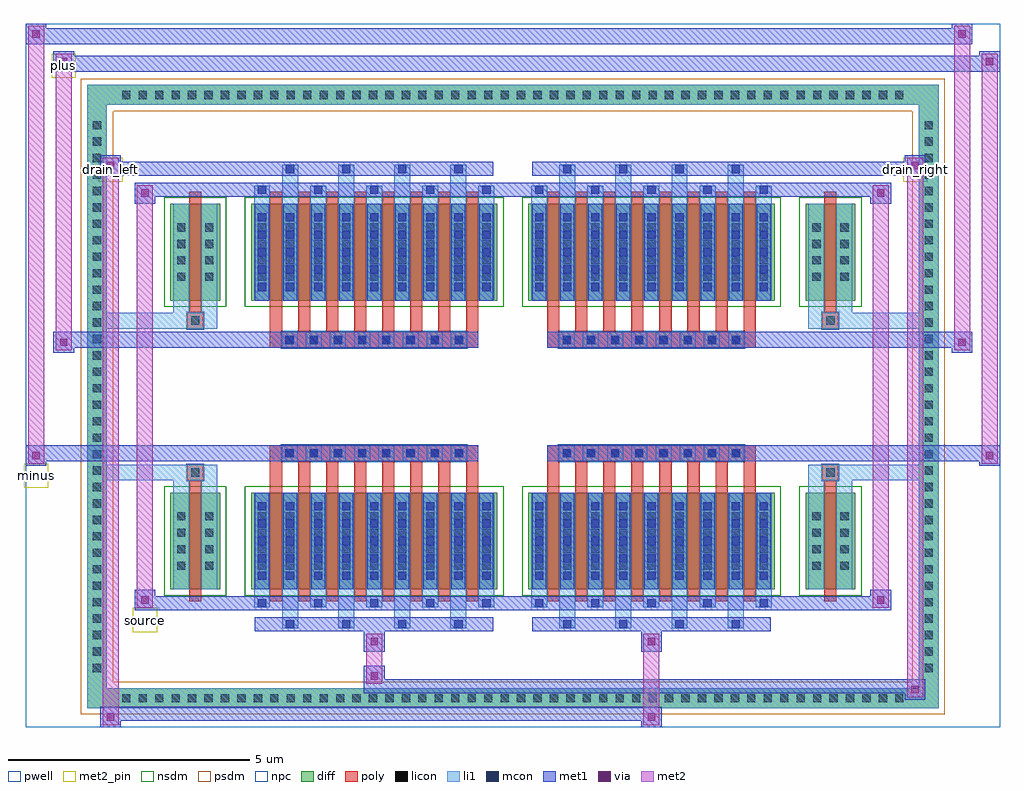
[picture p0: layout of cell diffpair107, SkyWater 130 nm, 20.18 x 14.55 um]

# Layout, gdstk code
import gdstk
lib = gdstk.Library(unit=1e-6, precision=5e-09)
def R(c, l, rs):  # rectangles x0, y0, x1, y1
    for r in rs: c.add(gdstk.rectangle(r[:2], r[2:], *l))
def A(c, l, x, y, w, h, nx, ny, dx, dy):  # array of equal rectangles
    R(c, l, [(x+i*dx, y+j*dy, x+i*dx+w, y+j*dy+h) for i in range(nx) for j in range(ny)])
def P(c, l, *ps):  # polygons
    for p in ps: c.add(gdstk.Polygon(p, *l))
pwell = (64, 44)
diff = (65, 20)
poly = (66, 20)
licon = (66, 44)
li1 = (67, 20)
mcon = (67, 44)
met1 = (68, 20)
via = (68, 44)
met2_pin = (69, 16)
met2 = (69, 20)
nsdm = (93, 44)
psdm = (94, 20)
npc = (95, 20)

diffpair107 = lib.new_cell('diffpair107')
R(diffpair107, pwell, [(-10.07,-6.84,10.07,7.71), (-7.39,-5.03,-0.01,-0.805), (0.01,-5.03,7.39,-0.805), (-7.39,0.805,-0.01,5.03), (0.01,0.805,7.39,5.03)])
A(diffpair107, diff, -8.195, -6.44, 0.41, 0.41, 48, 2, 0.34, 12.47)
A(diffpair107, diff, -8.8, -5.815, 0.41, 0.41, 1, 34, 0, 0.34)
A(diffpair107, diff, 8.39, -5.815, 0.41, 0.41, 1, 34, 0, 0.34)
R(diffpair107, diff, [(-8.195,-6.44,8.195,-6.03), (-8.8,-5.815,-8.39,5.815), (8.39,-5.815,8.8,5.815), (-7.08,-3.985,-6.05,-1.985), (-5.41,-3.985,-0.32,-1.985), (0.32,-3.985,5.41,-1.985), (6.05,-3.985,7.08,-1.985), (-7.08,1.985,-6.05,3.985), (-5.41,1.985,-0.32,3.985), (0.32,1.985,5.41,3.985), (6.05,1.985,7.08,3.985), (-8.195,6.03,8.195,6.44)])
P(diffpair107, diff, [(8.8,6.44),(-8.8,6.44),(-8.8,-6.03),(-8.39,-6.03),(-8.39,6.03),(8.39,6.03),(8.39,-6.03),(-8.39,-6.03),(-8.8,-6.03),(-8.8,-6.44),(8.8,-6.44)])
A(diffpair107, poly, -5.02, -4.235, 0.25, 2.5, 8, 2, 0.58, 5.97)
A(diffpair107, poly, 0.71, -4.235, 0.25, 2.5, 8, 2, 0.58, 5.97)
A(diffpair107, poly, -5.02, -1.735, 0.25, 0.4, 8, 2, 0.58, 3.07)
A(diffpair107, poly, 0.71, -1.735, 0.25, 0.4, 8, 2, 0.58, 3.07)
A(diffpair107, poly, -4.78, -1.335, 0.33, 0.33, 8, 2, 0.5, 2.34)
A(diffpair107, poly, 0.95, -1.335, 0.33, 0.33, 8, 2, 0.5, 2.34)
R(diffpair107, poly, [(-6.69,-4.235,-6.44,-1.735), (6.44,-4.235,6.69,-1.735), (-6.73,-1.735,-6.4,-1.405), (-6.73,-1.735,-6.4,-1.405), (6.4,-1.735,6.73,-1.405), (6.4,-1.735,6.73,-1.405), (-5.02,-1.335,-0.71,-1.005), (0.71,-1.335,5.02,-1.005), (-5.02,1.005,-0.71,1.335), (0.71,1.005,5.02,1.335), (-6.73,1.405,-6.4,1.735), (-6.73,1.405,-6.4,1.735), (6.4,1.405,6.73,1.735), (6.4,1.405,6.73,1.735), (-6.69,1.735,-6.44,4.235), (6.44,1.735,6.69,4.235)])
A(diffpair107, licon, -8.075, -6.32, 0.17, 0.17, 48, 2, 0.34, 12.47)
A(diffpair107, licon, -8.68, -5.695, 0.17, 0.17, 1, 34, 0, 0.34)
A(diffpair107, licon, 8.51, -5.695, 0.17, 0.17, 1, 34, 0, 0.34)
A(diffpair107, licon, -6.94, -3.58, 0.17, 0.17, 1, 4, 0, 0.34)
A(diffpair107, licon, -6.36, -3.58, 0.17, 0.17, 1, 4, 0, 0.34)
A(diffpair107, licon, -5.27, -3.58, 0.17, 0.17, 9, 4, 0.58, 0.34)
A(diffpair107, licon, 0.46, -3.58, 0.17, 0.17, 9, 4, 0.58, 0.34)
A(diffpair107, licon, 6.19, -3.58, 0.17, 0.17, 1, 4, 0, 0.34)
A(diffpair107, licon, 6.77, -3.58, 0.17, 0.17, 1, 4, 0, 0.34)
A(diffpair107, licon, -4.7, -1.255, 0.17, 0.17, 8, 2, 0.5, 2.34)
A(diffpair107, licon, 1.03, -1.255, 0.17, 0.17, 8, 2, 0.5, 2.34)
A(diffpair107, licon, -6.94, 2.39, 0.17, 0.17, 1, 4, 0, 0.34)
A(diffpair107, licon, -6.36, 2.39, 0.17, 0.17, 1, 4, 0, 0.34)
A(diffpair107, licon, -5.27, 2.39, 0.17, 0.17, 9, 4, 0.58, 0.34)
A(diffpair107, licon, 0.46, 2.39, 0.17, 0.17, 9, 4, 0.58, 0.34)
A(diffpair107, licon, 6.19, 2.39, 0.17, 0.17, 1, 4, 0, 0.34)
A(diffpair107, licon, 6.77, 2.39, 0.17, 0.17, 1, 4, 0, 0.34)
R(diffpair107, licon, [(-6.65,-1.655,-6.48,-1.485), (6.48,-1.655,6.65,-1.485), (-6.65,1.485,-6.48,1.655), (6.48,1.485,6.65,1.655)])
A(diffpair107, li1, -8.155, -6.4, 0.33, 0.33, 48, 2, 0.34, 12.47)
A(diffpair107, li1, -8.76, -5.775, 0.33, 0.33, 1, 34, 0, 0.34)
A(diffpair107, li1, 8.43, -5.775, 0.33, 0.33, 1, 34, 0, 0.34)
A(diffpair107, li1, -4.77, -4.79, 0.33, 0.805, 4, 2, 1.16, 8.775)
A(diffpair107, li1, -4.69, -4.79, 0.17, 0.17, 4, 2, 1.16, 9.41)
A(diffpair107, li1, 0.96, -4.79, 0.33, 0.805, 4, 2, 1.16, 8.775)
A(diffpair107, li1, 1.04, -4.79, 0.17, 0.17, 4, 2, 1.16, 9.41)
A(diffpair107, li1, -5.35, -4.36, 0.33, 0.375, 5, 2, 1.16, 8.345)
A(diffpair107, li1, -5.27, -4.36, 0.17, 0.17, 5, 2, 1.16, 8.55)
A(diffpair107, li1, 0.38, -4.36, 0.33, 0.375, 5, 2, 1.16, 8.345)
A(diffpair107, li1, 0.46, -4.36, 0.17, 0.17, 5, 2, 1.16, 8.55)
A(diffpair107, li1, -5.35, -3.985, 0.33, 2, 9, 2, 0.58, 5.97)
A(diffpair107, li1, 0.38, -3.985, 0.33, 2, 9, 2, 0.58, 5.97)
A(diffpair107, li1, -5.27, -3.79, 0.17, 0.17, 9, 5, 0.58, 0.36)
A(diffpair107, li1, -5.27, -3.79, 0.17, 1.61, 9, 2, 0.58, 5.97)
A(diffpair107, li1, 0.46, -3.79, 0.17, 0.17, 9, 5, 0.58, 0.36)
A(diffpair107, li1, 0.46, -3.79, 0.17, 1.61, 9, 2, 0.58, 5.97)
A(diffpair107, li1, -7.02, -3.66, 0.33, 0.33, 1, 4, 0, 0.34)
A(diffpair107, li1, -6.44, -3.66, 0.33, 0.33, 1, 4, 0, 0.34)
A(diffpair107, li1, -5.35, -3.66, 0.33, 0.33, 9, 4, 0.58, 0.34)
A(diffpair107, li1, 0.38, -3.66, 0.33, 0.33, 9, 4, 0.58, 0.34)
A(diffpair107, li1, 6.11, -3.66, 0.33, 0.33, 1, 4, 0, 0.34)
A(diffpair107, li1, 6.69, -3.66, 0.33, 0.33, 1, 4, 0, 0.34)
A(diffpair107, li1, -4.78, -1.335, 0.33, 0.33, 8, 2, 0.5, 2.34)
A(diffpair107, li1, 0.95, -1.335, 0.33, 0.33, 8, 2, 0.5, 2.34)
A(diffpair107, li1, -5.27, 2.18, 0.17, 0.17, 9, 5, 0.58, 0.36)
A(diffpair107, li1, 0.46, 2.18, 0.17, 0.17, 9, 5, 0.58, 0.36)
A(diffpair107, li1, -7.02, 2.31, 0.33, 0.33, 1, 4, 0, 0.34)
A(diffpair107, li1, -6.44, 2.31, 0.33, 0.33, 1, 4, 0, 0.34)
A(diffpair107, li1, -5.35, 2.31, 0.33, 0.33, 9, 4, 0.58, 0.34)
A(diffpair107, li1, 0.38, 2.31, 0.33, 0.33, 9, 4, 0.58, 0.34)
A(diffpair107, li1, 6.11, 2.31, 0.33, 0.33, 1, 4, 0, 0.34)
A(diffpair107, li1, 6.69, 2.31, 0.33, 0.33, 1, 4, 0, 0.34)
R(diffpair107, li1, [(-8.8,-6.44,-8.39,-6.03), (-8.8,-6.44,-8.39,-6.03), (-8.39,-6.44,8.39,-6.03), (8.39,-6.44,8.8,-6.03), (8.39,-6.44,8.8,-6.03), (-8.8,-6.03,-8.39,6.03), (8.39,-6.03,8.8,6.03), (-7.02,-3.985,-6.69,-1.985), (-6.44,-3.985,-6.11,-1.985), (6.11,-3.985,6.44,-1.985), (6.69,-3.985,7.02,-1.985), (-7.02,-1.985,-6.69,-1.405), (-6.44,-1.985,-6.11,-1.405), (6.11,-1.985,6.44,-1.405), (6.69,-1.985,7.02,-1.405), (-8.8,-1.735,-6.73,-1.405), (-7.02,-1.735,-6.73,-1.405), (-6.73,-1.735,-6.4,-1.405), (-6.4,-1.735,-6.11,-1.405), (6.11,-1.735,6.4,-1.405), (6.4,-1.735,6.73,-1.405), (6.4,-1.735,8.8,-1.405), (6.73,-1.735,7.02,-1.405), (-8.8,1.405,-6.73,1.735), (-7.02,1.405,-6.73,1.735), (-7.02,1.405,-6.69,1.985), (-6.73,1.405,-6.4,1.735), (-6.44,1.405,-6.11,1.985), (-6.4,1.405,-6.11,1.735), (6.11,1.405,6.4,1.735), (6.11,1.405,6.44,1.985), (6.4,1.405,6.73,1.735), (6.4,1.405,8.8,1.735), (6.69,1.405,7.02,1.985), (6.73,1.405,7.02,1.735), (-7.02,1.985,-6.69,3.985), (-6.44,1.985,-6.11,3.985), (6.11,1.985,6.44,3.985), (6.69,1.985,7.02,3.985), (-8.8,6.03,-8.39,6.44), (-8.8,6.03,-8.39,6.44), (-8.39,6.03,8.39,6.44), (8.39,6.03,8.8,6.44), (8.39,6.03,8.8,6.44)])
A(diffpair107, mcon, -4.69, -4.79, 0.17, 0.17, 4, 2, 1.16, 9.41)
A(diffpair107, mcon, 1.04, -4.79, 0.17, 0.17, 4, 2, 1.16, 9.41)
A(diffpair107, mcon, -5.27, -4.36, 0.17, 0.17, 5, 2, 1.16, 8.55)
A(diffpair107, mcon, 0.46, -4.36, 0.17, 0.17, 5, 2, 1.16, 8.55)
A(diffpair107, mcon, -5.27, -3.79, 0.17, 0.17, 9, 5, 0.58, 0.36)
A(diffpair107, mcon, 0.46, -3.79, 0.17, 0.17, 9, 5, 0.58, 0.36)
A(diffpair107, mcon, -4.7, -1.255, 0.17, 0.17, 8, 2, 0.5, 2.34)
A(diffpair107, mcon, 1.03, -1.255, 0.17, 0.17, 8, 2, 0.5, 2.34)
A(diffpair107, mcon, -5.27, 2.18, 0.17, 0.17, 9, 5, 0.58, 0.36)
A(diffpair107, mcon, 0.46, 2.18, 0.17, 0.17, 9, 5, 0.58, 0.36)
A(diffpair107, met1, -4.75, -4.85, 0.29, 0.29, 4, 2, 1.16, 9.41)
A(diffpair107, met1, 0.98, -4.85, 0.29, 0.29, 4, 2, 1.16, 9.41)
A(diffpair107, met1, -5.33, -4.42, 0.29, 0.29, 5, 2, 1.16, 8.55)
A(diffpair107, met1, 0.4, -4.42, 0.29, 0.29, 5, 2, 1.16, 8.55)
A(diffpair107, met1, -5.33, -3.985, 0.29, 2, 9, 2, 0.58, 5.97)
A(diffpair107, met1, 0.4, -3.985, 0.29, 2, 9, 2, 0.58, 5.97)
A(diffpair107, met1, -5.33, -3.85, 0.29, 0.29, 9, 5, 0.58, 0.36)
A(diffpair107, met1, 0.4, -3.85, 0.29, 0.29, 9, 5, 0.58, 0.36)
A(diffpair107, met1, -4.76, -1.315, 0.29, 0.29, 8, 2, 0.5, 2.34)
A(diffpair107, met1, 0.97, -1.315, 0.29, 0.29, 8, 2, 0.5, 2.34)
A(diffpair107, met1, -5.33, 2.12, 0.29, 0.29, 9, 5, 0.58, 0.36)
A(diffpair107, met1, 0.4, 2.12, 0.29, 0.29, 9, 5, 0.58, 0.36)
R(diffpair107, met1, [(-8.53,-6.84,-8.1,-6.41), (2.65,-6.84,3.08,-6.41), (-8.53,-6.7,3.08,-6.41), (8.1,-6.27,8.53,-5.84), (-3.08,-6.13,8.53,-5.84), (-3.08,-5.99,-2.65,-5.56), (-3.08,-5.28,-2.65,-4.85), (2.65,-5.28,3.08,-4.85), (-5.33,-4.85,-0.4,-4.56), (0.4,-4.85,5.33,-4.56), (-7.82,-4.42,-7.39,-3.99), (-7.82,-4.42,-5.33,-4.13), (-5.33,-4.42,-0.4,-4.13), (-0.4,-4.42,0.4,-4.13), (0.4,-4.42,5.33,-4.13), (5.33,-4.42,7.82,-4.13), (7.39,-4.42,7.82,-3.99), (-10.07,-1.435,-9.64,-1.005), (9.64,-1.435,10.07,-1.005), (-10.07,-1.335,-0.71,-1.005), (-5.02,-1.335,-0.71,-1.005), (0.71,-1.335,5.02,-1.005), (0.71,-1.335,10.07,-1.005), (-9.5,0.905,-9.07,1.335), (9.07,0.905,9.5,1.335), (-9.5,1.005,-5.02,1.335), (-5.02,1.005,-0.71,1.335), (0.71,1.005,5.02,1.335), (5.02,1.005,9.5,1.335), (-7.82,3.99,-7.39,4.42), (7.39,3.99,7.82,4.42), (-7.82,4.13,-5.33,4.42), (-5.33,4.13,-0.4,4.42), (-0.4,4.13,0.4,4.42), (0.4,4.13,5.33,4.42), (5.33,4.13,7.82,4.42), (-8.53,4.56,-8.1,4.99), (-8.53,4.56,-5.33,4.85), (-5.33,4.56,-0.4,4.85), (0.4,4.56,5.33,4.85), (5.33,4.56,8.53,4.85), (8.1,4.56,8.53,4.99), (-9.5,6.71,-9.07,7.14), (-9.5,6.71,-7.39,7.04), (-7.39,6.71,7.39,7.04), (7.39,6.71,10.07,7.04), (9.64,6.71,10.07,7.14), (-10.07,7.28,-9.64,7.71), (-10.07,7.28,-7.39,7.61), (-7.39,7.28,7.39,7.61), (7.39,7.28,9.5,7.61), (9.07,7.28,9.5,7.71)])
R(diffpair107, via, [(-8.39,-6.7,-8.24,-6.55), (2.79,-6.7,2.94,-6.55), (8.24,-6.13,8.39,-5.98), (-2.94,-5.85,-2.79,-5.7), (-2.94,-5.14,-2.79,-4.99), (2.79,-5.14,2.94,-4.99), (-7.68,-4.28,-7.53,-4.13), (7.53,-4.28,7.68,-4.13), (-9.93,-1.295,-9.78,-1.145), (9.78,-1.295,9.93,-1.145), (-9.36,1.045,-9.21,1.195), (9.21,1.045,9.36,1.195), (-7.68,4.13,-7.53,4.28), (7.53,4.13,7.68,4.28), (-8.39,4.7,-8.24,4.85), (8.24,4.7,8.39,4.85), (-9.36,6.85,-9.21,7), (9.78,6.85,9.93,7), (-9.93,7.42,-9.78,7.57), (9.21,7.42,9.36,7.57)])
R(diffpair107, met2_pin, [(-7.855,-4.87,-7.355,-4.37), (-10.105,-1.885,-9.605,-1.385), (-8.565,4.44,-8.065,4.94), (8.065,4.44,8.565,4.94), (-9.535,6.59,-9.035,7.09)])
R(diffpair107, met2, [(-8.48,-6.79,-8.15,-6.46), (-8.48,-6.79,-8.15,4.94), (2.7,-6.79,3.03,-6.46), (2.7,-6.46,3.03,-5.23), (8.15,-6.22,8.48,-5.89), (8.15,-6.22,8.48,4.94), (-3.03,-5.94,-2.7,-5.61), (-3.03,-5.61,-2.7,-5.23), (-3.03,-5.23,-2.7,-4.9), (2.7,-5.23,3.03,-4.9), (-7.77,-4.37,-7.44,-4.04), (-7.77,-4.37,-7.44,4.37), (7.44,-4.37,7.77,-4.04), (7.44,-4.37,7.77,4.37), (-10.02,-1.385,-9.69,-1.055), (-10.02,-1.385,-9.69,7.66), (9.69,-1.385,10.02,-1.055), (9.69,-1.385,10.02,7.09), (-9.45,0.955,-9.12,1.285), (-9.45,0.955,-9.12,7.09), (9.12,0.955,9.45,1.285), (9.12,0.955,9.45,7.66), (-7.77,4.04,-7.44,4.37), (7.44,4.04,7.77,4.37), (-8.48,4.61,-8.15,4.94), (8.15,4.61,8.48,4.94), (-9.45,6.76,-9.12,7.09), (9.69,6.76,10.02,7.09), (-10.02,7.33,-9.69,7.66), (9.12,7.33,9.45,7.66)])
P(diffpair107, met2, [(10.02,-1.385),(10.02,-1.385),(10.02,-1.055),(10.02,-1.055)],
  [(10.02,6.76),(10.02,6.76),(10.02,7.09),(10.02,7.09)],
  [(-9.69,-1.385),(-9.69,-1.385),(-9.69,-1.055),(-9.69,-1.055)],
  [(-9.69,7.33),(-9.69,7.33),(-9.69,7.66),(-9.69,7.66)],
  [(9.45,0.955),(9.45,0.955),(9.45,1.285),(9.45,1.285)],
  [(9.45,7.33),(9.45,7.33),(9.45,7.66),(9.45,7.66)],
  [(-9.12,0.955),(-9.12,0.955),(-9.12,1.285),(-9.12,1.285)],
  [(-9.12,6.76),(-9.12,6.76),(-9.12,7.09),(-9.12,7.09)],
  [(-8.15,-6.79),(-8.15,-6.79),(-8.15,-6.46),(-8.15,-6.46)],
  [(-8.15,4.61),(-8.15,4.61),(-8.15,4.94),(-8.15,4.94)],
  [(8.48,-6.22),(8.48,-6.22),(8.48,-5.89),(8.48,-5.89)],
  [(8.48,4.61),(8.48,4.61),(8.48,4.94),(8.48,4.94)],
  [(-7.44,-4.37),(-7.44,-4.37),(-7.44,-4.04),(-7.44,-4.04)],
  [(-7.44,4.04),(-7.44,4.04),(-7.44,4.37),(-7.44,4.37)],
  [(7.77,-4.37),(7.77,-4.37),(7.77,-4.04),(7.77,-4.04)],
  [(7.77,4.04),(7.77,4.04),(7.77,4.37),(7.77,4.37)])
R(diffpair107, nsdm, [(-7.21,-4.115,-5.92,-1.855), (-5.54,-4.115,-0.19,-1.855), (0.19,-4.115,5.54,-1.855), (5.92,-4.115,7.21,-1.855), (-7.21,1.855,-5.92,4.115), (-5.54,1.855,-0.19,4.115), (0.19,1.855,5.54,4.115), (5.92,1.855,7.21,4.115)])
P(diffpair107, psdm, [(8.93,6.57),(-8.93,6.57),(-8.93,-5.9),(-8.26,-5.9),(-8.26,5.9),(8.26,5.9),(8.26,-5.9),(-8.26,-5.9),(-8.93,-5.9),(-8.93,-6.57),(8.93,-6.57)])
A(diffpair107, npc, -4.8, -1.355, 0.37, 0.37, 8, 2, 0.5, 2.34)
A(diffpair107, npc, 0.93, -1.355, 0.37, 0.37, 8, 2, 0.5, 2.34)
R(diffpair107, npc, [(-6.75,-1.755,-6.38,-1.385), (6.38,-1.755,6.75,-1.385), (-4.8,-1.355,-3.93,-0.985), (-4.8,-1.355,-3.93,-0.985), (-4.3,-1.355,-3.43,-0.985), (-4.3,-1.355,-3.43,-0.985), (-3.8,-1.355,-2.93,-0.985), (-3.8,-1.355,-2.93,-0.985), (-3.3,-1.355,-2.43,-0.985), (-3.3,-1.355,-2.43,-0.985), (-2.8,-1.355,-1.93,-0.985), (-2.8,-1.355,-1.93,-0.985), (-2.3,-1.355,-1.43,-0.985), (-2.3,-1.355,-1.43,-0.985), (-1.8,-1.355,-0.93,-0.985), (-1.8,-1.355,-0.93,-0.985), (0.93,-1.355,1.8,-0.985), (0.93,-1.355,1.8,-0.985), (1.43,-1.355,2.3,-0.985), (1.43,-1.355,2.3,-0.985), (1.93,-1.355,2.8,-0.985), (1.93,-1.355,2.8,-0.985), (2.43,-1.355,3.3,-0.985), (2.43,-1.355,3.3,-0.985), (2.93,-1.355,3.8,-0.985), (2.93,-1.355,3.8,-0.985), (3.43,-1.355,4.3,-0.985), (3.43,-1.355,4.3,-0.985), (3.93,-1.355,4.8,-0.985), (3.93,-1.355,4.8,-0.985), (-4.8,0.985,-3.93,1.355), (-4.8,0.985,-3.93,1.355), (-4.3,0.985,-3.43,1.355), (-4.3,0.985,-3.43,1.355), (-3.8,0.985,-2.93,1.355), (-3.8,0.985,-2.93,1.355), (-3.3,0.985,-2.43,1.355), (-3.3,0.985,-2.43,1.355), (-2.8,0.985,-1.93,1.355), (-2.8,0.985,-1.93,1.355), (-2.3,0.985,-1.43,1.355), (-2.3,0.985,-1.43,1.355), (-1.8,0.985,-0.93,1.355), (-1.8,0.985,-0.93,1.355), (0.93,0.985,1.8,1.355), (0.93,0.985,1.8,1.355), (1.43,0.985,2.3,1.355), (1.43,0.985,2.3,1.355), (1.93,0.985,2.8,1.355), (1.93,0.985,2.8,1.355), (2.43,0.985,3.3,1.355), (2.43,0.985,3.3,1.355), (2.93,0.985,3.8,1.355), (2.93,0.985,3.8,1.355), (3.43,0.985,4.3,1.355), (3.43,0.985,4.3,1.355), (3.93,0.985,4.8,1.355), (3.93,0.985,4.8,1.355), (-6.75,1.385,-6.38,1.755), (6.38,1.385,6.75,1.755)])
diffpair107.add(gdstk.Label('minus', (-9.855,-1.635), layer=69, texttype=5))
diffpair107.add(gdstk.Label('drain_right', (8.315,4.69), layer=69, texttype=5))
diffpair107.add(gdstk.Label('drain_left', (-8.315,4.69), layer=69, texttype=5))
diffpair107.add(gdstk.Label('source', (-7.605,-4.62), layer=69, texttype=5))
diffpair107.add(gdstk.Label('plus', (-9.285,6.84), layer=69, texttype=5))

lib.write_gds('diffpair107.gds')
